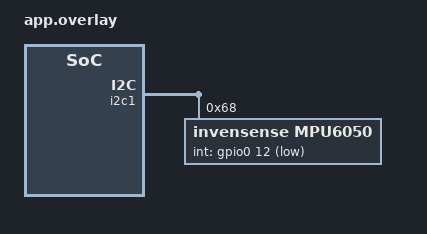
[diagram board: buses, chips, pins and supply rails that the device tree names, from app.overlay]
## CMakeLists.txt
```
#
# Copyright (c) 2018 Nordic Semiconductor
#
# SPDX-License-Identifier: LicenseRef-Nordic-5-Clause
#
cmake_minimum_required(VERSION 3.20.0)

find_package(Zephyr REQUIRED HINTS $ENV{ZEPHYR_BASE})
project(ble_custom_service)

# NORDIC SDK APP START
target_sources(app PRIVATE
  src/main.c
  src/ble.c
  src/uart.c
  src/custom_srv.c
  src/mpu6050.c
)

# Include UART ASYNC API adapter
target_sources_ifdef(CONFIG_BT_NUS_UART_ASYNC_ADAPTER app PRIVATE
  src/uart_async_adapter.c
)

# NORDIC SDK APP END

zephyr_library_include_directories(.)
```

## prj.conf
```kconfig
#
# Copyright (c) 2018 Nordic Semiconductor
#
# SPDX-License-Identifier: LicenseRef-Nordic-5-Clause
#

# Enable the UART driver
CONFIG_UART_ASYNC_API=y
CONFIG_NRFX_UARTE0=y
CONFIG_SERIAL=y

CONFIG_GPIO=y

# Make sure printk is printing to the UART console
CONFIG_CONSOLE=y
CONFIG_UART_CONSOLE=y

CONFIG_HEAP_MEM_POOL_SIZE=4096

CONFIG_BT=y
CONFIG_BT_PERIPHERAL=y
CONFIG_BT_DEVICE_NAME="Nordic_UART_Service"
CONFIG_BT_MAX_CONN=1
CONFIG_BT_MAX_PAIRED=1
CONFIG_BT_SMP=y
CONFIG_BT_GATT_CLIENT=y

#Configure your preferred connection parameters
CONFIG_BT_PERIPHERAL_PREF_MIN_INT=800
CONFIG_BT_PERIPHERAL_PREF_MAX_INT=800
CONFIG_BT_PERIPHERAL_PREF_LATENCY=0
CONFIG_BT_PERIPHERAL_PREF_TIMEOUT=400
CONFIG_BT_GAP_AUTO_UPDATE_CONN_PARAMS=y

#nable PHY updates.
CONFIG_BT_USER_PHY_UPDATE=y

#Update Data Length and MTU
CONFIG_BT_USER_DATA_LEN_UPDATE=y
CONFIG_BT_CTLR_DATA_LENGTH_MAX=251
CONFIG_BT_BUF_ACL_RX_SIZE=251
CONFIG_BT_BUF_ACL_TX_SIZE=251
CONFIG_BT_L2CAP_TX_MTU=247

# Enable the NUS service
CONFIG_BT_NUS=y

# Enable bonding
CONFIG_BT_SETTINGS=y
CONFIG_FLASH=y
CONFIG_FLASH_PAGE_LAYOUT=y
CONFIG_FLASH_MAP=y
CONFIG_NVS=y
CONFIG_SETTINGS=y

# Enable DK LED and Buttons library
CONFIG_DK_LIBRARY=y

# This example requires more stack
CONFIG_MAIN_STACK_SIZE=4096
CONFIG_SYSTEM_WORKQUEUE_STACK_SIZE=8192

# Config logger
CONFIG_LOG=y
CONFIG_USE_SEGGER_RTT=y
CONFIG_LOG_BACKEND_RTT=y
CONFIG_LOG_BACKEND_UART=n
CONFIG_LOG_PRINTK=n

CONFIG_ASSERT=y


# i2c
CONFIG_I2C=y
CONFIG_NRFX_TWI1=y
```

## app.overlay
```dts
/*
 * Copyright (c) 2022 Nordic Semiconductor ASA
 *
 * SPDX-License-Identifier: LicenseRef-Nordic-5-Clause
 */

/ {
	chosen {
		nordic,nus-uart = &uart0;
	};
};

&i2c1 {
	status = "okay";
	// clock-frequency = <400000>;
	mpu6050: mpu6050@68 {
        compatible = "invensense,mpu6050";
        reg = <0x68>; // I2C 地址
		int-gpios = <&gpio0 12 GPIO_ACTIVE_LOW>;
    };
};
 
//配置i2c1
&i2c1_default {
	group1 {
		psels = <NRF_PSEL(TWIM_SDA, 0, 31)>, <NRF_PSEL(TWIM_SCL, 0, 30)>;
	};
};
```

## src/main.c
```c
/*
 * Copyright (c) 2018 Nordic Semiconductor ASA
 *
 * SPDX-License-Identifier: LicenseRef-Nordic-5-Clause
 */

/** @file
 *  @brief Nordic UART Bridge Service (NUS) sample
 */
#include <zephyr/types.h>
#include <zephyr/kernel.h>
#include <zephyr/device.h>
#include <zephyr/devicetree.h>
#include <soc.h>

#include <dk_buttons_and_leds.h>
#include <bluetooth/services/nus.h>
#include <stdio.h>

#include <zephyr/logging/log.h>

#include "ble.h"
#include "uart.h"
#include "custom_srv.h"
#include "mpu6050.h"

LOG_MODULE_REGISTER(main);

#define RUN_STATUS_LED DK_LED1
#define RUN_LED_BLINK_INTERVAL 1000

void button_changed(uint32_t button_state, uint32_t has_changed)
{
	uint32_t buttons = button_state & has_changed;

	printk("button_changed %x\r\n", button_state);

	if (buttons & DK_BTN1_MSK) {
		printk("button1 press\r\n");
	}
	if (buttons & DK_BTN2_MSK) {
		printk("button2 press\r\n");
	}
}


static void configure_gpio(void)
{
	int err;

	// err = dk_buttons_init(button_changed);
	// if (err) {
	// 	LOG_ERR("Cannot init buttons (err: %d)", err);
	// }

	err = dk_leds_init();
	if (err) {
		LOG_ERR("Cannot init LEDs (err: %d)", err);
	}
}

int main(void)
{
	int blink_status = 0;
	int err = 0;

	configure_gpio();

	uart_init();

	ble_init();

	mpu6050_init();

	for (;;) {
		dk_set_led(RUN_STATUS_LED, (++blink_status) % 2);
		k_sleep(K_MSEC(RUN_LED_BLINK_INTERVAL));
	}
}

void ble_write_thread(void)
{
	static uint8_t tmp[5] = "1234"; 
	k_sem_take(&ble_init_ok, K_FOREVER);
	
	for (;;) {
		if(current_conn){
			// indicate_send(current_conn, tmp, 5);
			bt_custom_send(current_conn, (uint8_t*)&mpu6050_dev.sensor_data.temp, 2);
		}
		tmp[0] ++;
		k_sleep(K_MSEC(RUN_LED_BLINK_INTERVAL));
	}
}

K_THREAD_DEFINE(ble_write_thread_id, BT_THREAD_STACKSIZE, ble_write_thread, NULL, NULL,
		NULL, BT_THREAD_PRIORITY, 0, 0);
```

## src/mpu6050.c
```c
#include "mpu6050.h"
#include "ble.h"
 
LOG_MODULE_REGISTER(mpu6050);
 
/* measured in degrees/sec x10 to avoid floating point */
static const uint16_t mpu6050_gyro_sensitivity_x10[] = {
	1310, 655, 328, 164
};
 
static const uint8_t mpu6050_init_cmd[11][2] = {
    {PWR_MGMT_1, 0x80}, // PWR_MGMT_1, DEVICE_RESET  
    // need wait 
    {PWR_MGMT_1, 0x00}, // cleat SLEEP
    {GYRO_CONFIG, 0x18}, // Gyroscope Full Scale Range = ± 2000 °/s
    {ACCEL_CONFIG, 0x00}, // Accelerometer Full Scale Range = ± 2g 
    {INT_ENABLE, 0x01}, // Interrupt Enable.  DATA_RDY_EN
    {USER_CTRL, 0x00}, // User Control.auxiliary I2C are logically driven by the primary I2C bus
    {FIFO_EN, 0x00}, // FIFO Enable.disenable  
    {SMPLRT_DIV, 99}, // Sample Rate Divider.Sample Rate = 1KHz / (1 + 9)  
    {CONFIG, 0x23}, // EXT_SYNC_SET = GYRO_ZOUT_L[0]; Bandwidth = 3
    {PWR_MGMT_1, 0x01}, // Power Management 1.PLL with X axis gyroscope reference
    {PWR_MGMT_2, 0x00}  // Power Management 2
};
 
mpu6050_info_t mpu6050_dev = {
	.i2c = I2C_DT_SPEC_GET(DT_NODELABEL(mpu6050)),

#ifdef  MPU6050_INT_ENABLE  
    .int_gpio = GPIO_DT_SPEC_GET(DT_NODELABEL(mpu6050), int_gpios),
#endif
    // .data_queue = NULL,
};
 
#ifdef  MPU6050_INT_ENABLE  
// 中断处理程序
static void mpu6050_gpio_callback(const struct device *dev,
				  struct gpio_callback *cb, uint32_t pins)
{
	mpu6050_info_t *info = CONTAINER_OF(cb, mpu6050_info_t, gpio_cb);
 
	ARG_UNUSED(pins);
 
	gpio_pin_interrupt_configure_dt(&info->int_gpio, GPIO_INT_DISABLE);
 
#if defined(MPU6050_TRIGGER_OWN_THREAD)
	k_sem_give(&info->gpio_sem);
#elif defined(MPU6050_TRIGGER_GLOBAL_THREAD)
	k_work_submit(&info->work);
#endif
}
#endif
 
/*
 * @description: mpu6050读取寄存器数据 
 * @param:          reg_addr    寄存器地址  
 *                  data        数据缓存
 * @return:         无
 */
void mpu_read_reg(mpu6050_info_t *dev, uint8_t reg_addr, uint8_t *data)
{
	i2c_reg_read_byte_dt(&dev->i2c, reg_addr, data);
}
 
/*
 * @description: mpu6050写寄存器数据 
 * @param:          reg_addr    寄存器地址  
 *                  data        数据缓存
 * @return:         无
 */
void mpu_write_reg(mpu6050_info_t *dev, uint8_t reg_addr, uint8_t data)
{
    i2c_reg_write_byte_dt(&dev->i2c, reg_addr, data);
}
 
/*
 * @description: mpu6050读取寄存器数据 
 * @param:          reg_addr    寄存器地址  
 *                  data        数据缓存
 *                  len         字节数
 * @return:         无
 */
void mpu_read_n_reg(mpu6050_info_t *dev, uint8_t start_reg, uint8_t* data, uint32_t len)
{
    i2c_burst_read_dt(&dev->i2c, start_reg, data, len);
}
 
/* see "Accelerometer Measurements" section from register map description */
/*
 * @description: 转换加速度数据 
 * @param:       val               传感器值结构体指针
 *               raw_val           原始加速度值
 *               sensitivity_shift 灵敏度移位值
 * @return:      无
 */
static void mpu6050_convert_accel(struct sensor_value *val, int16_t raw_val,
				  uint16_t sensitivity_shift)
{
	int64_t conv_val;
 
	conv_val = ((int64_t)raw_val * SENSOR_G) >> sensitivity_shift;
	val->val1 = conv_val / 1000000;
	val->val2 = conv_val % 1000000;
}
 
/* see "Gyroscope Measurements" section from register map description */
/*
 * @description: 转换陀螺仪数据 
 * @param:       val                传感器值结构体指针
 *               raw_val            原始陀螺仪值
 *               sensitivity_x10    灵敏度x10
 * @return:      无
 */
static void mpu6050_convert_gyro(struct sensor_value *val, int16_t raw_val,
				 uint16_t sensitivity_x10)
{
	int64_t conv_val;
 
	conv_val = ((int64_t)raw_val * SENSOR_PI * 10) /
		   (sensitivity_x10 * 180U);
	val->val1 = conv_val / 1000000;
	val->val2 = conv_val % 1000000;
}
 
/* see "Temperature Measurement" section from register map description */
/*
 * @description: 转换温度数据 
 * @param:       val        传感器值结构体指针
 *               raw_val    原始温度值
 * @return:      无
 */
static inline void mpu6050_convert_temp(struct sensor_value *val,
					int16_t raw_val)
{
	val->val1 = raw_val / 340 + 36;
	val->val2 = ((int64_t)(raw_val % 340) * 1000000) / 340 + 530000;
 
	if (val->val2 < 0) {
		val->val1--;
		val->val2 += 1000000;
	} else if (val->val2 >= 1000000) {
		val->val1++;
		val->val2 -= 1000000;
	}
}
 
/*
 * @description: 转换MPU6050传感器通道数据 
 * @param:       info       MPU6050设备结构体指针
 *               chan       传感器通道
 *               val        传感器值结构体指针
 * @return:      0          成功
 *              -ENOTSUP    不支持的通道
 */
int mpu6050_channel_get(mpu6050_info_t *info,
			       enum sensor_channel chan,
			       struct sensor_value *val)
{
	mpu6050_data_t *drv_data = &info->sensor_data;
 
	switch (chan) {
	case SENSOR_CHAN_ACCEL_XYZ:
		mpu6050_convert_accel(val, drv_data->accel_x,
				      drv_data->accel_sensitivity_shift);
		mpu6050_convert_accel(val + 1, drv_data->accel_y,
				      drv_data->accel_sensitivity_shift);
		mpu6050_convert_accel(val + 2, drv_data->accel_z,
				      drv_data->accel_sensitivity_shift);
		break;
	case SENSOR_CHAN_ACCEL_X:
		mpu6050_convert_accel(val, drv_data->accel_x,
				      drv_data->accel_sensitivity_shift);
		break;
	case SENSOR_CHAN_ACCEL_Y:
		mpu6050_convert_accel(val, drv_data->accel_y,
				      drv_data->accel_sensitivity_shift);
		break;
	case SENSOR_CHAN_ACCEL_Z:
		mpu6050_convert_accel(val, drv_data->accel_z,
				      drv_data->accel_sensitivity_shift);
		break;
	case SENSOR_CHAN_GYRO_XYZ:
		mpu6050_convert_gyro(val, drv_data->gyro_x,
				     drv_data->gyro_sensitivity_x10);
		mpu6050_convert_gyro(val + 1, drv_data->gyro_y,
				     drv_data->gyro_sensitivity_x10);
		mpu6050_convert_gyro(val + 2, drv_data->gyro_z,
				     drv_data->gyro_sensitivity_x10);
		break;
	case SENSOR_CHAN_GYRO_X:
		mpu6050_convert_gyro(val, drv_data->gyro_x,
				     drv_data->gyro_sensitivity_x10);
		break;
	case SENSOR_CHAN_GYRO_Y:
		mpu6050_convert_gyro(val, drv_data->gyro_y,
				     drv_data->gyro_sensitivity_x10);
		break;
	case SENSOR_CHAN_GYRO_Z:
		mpu6050_convert_gyro(val, drv_data->gyro_z,
				     drv_data->gyro_sensitivity_x10);
		break;
	case SENSOR_CHAN_DIE_TEMP:
		mpu6050_convert_temp(val, drv_data->temp);
		break;
	default:
		return -ENOTSUP;
	}
 
	return 0;
}
 
/*
 * @description: struct sensor_value 数据打印
 * @param:          value  struct sensor_value 数据
 * @return:         无
 */
void print_sensor_value(struct sensor_value *value) {
    // Check if the fractional part is negative
    if (value->val2 < 0) {
        // Print negative fractional part correctly
        printk("%d.%06d\n", value->val1, -value->val2);
    } else {
        // Print normally
        printk("%d.%06d\n", value->val1, value->val2);
    }
}
 
#ifdef MPU6050_TRIGGER_OWN_THREAD
/*
 * @description: mpu6050中断读取数据线程 
 * @param:          无  
 * @return:         无
 */
static void mpu6050_thread(void *p1, void *p2, void *p3)
{
	ARG_UNUSED(p2);
	ARG_UNUSED(p3);
 
    uint16_t tmp[7];
	mpu6050_info_t *info = p1;
    // struct sensor_value val[7];
 
	while (1) {
        //等待接收
		k_sem_take(&info->gpio_sem, K_FOREVER);
 
        //读取数据
        mpu_read_n_reg(info, ACCEL_XOUT_H, (uint8_t*)tmp, 14);
		
        //开中断
        gpio_pin_interrupt_configure_dt(&info->int_gpio, 
            GPIO_INT_EDGE_FALLING);
 
        info->sensor_data.accel_x = sys_be16_to_cpu(tmp[0]);
        info->sensor_data.accel_y = sys_be16_to_cpu(tmp[1]);
        info->sensor_data.accel_z = sys_be16_to_cpu(tmp[2]);
        info->sensor_data.temp = sys_be16_to_cpu(tmp[3]);
        info->sensor_data.gyro_x = sys_be16_to_cpu(tmp[4]);
        info->sensor_data.gyro_y = sys_be16_to_cpu(tmp[5]);
        info->sensor_data.gyro_z = sys_be16_to_cpu(tmp[6]);
 
		//for(int i=0; i<7; i++) printk("%x ", tmp[i]);	
		//printk("\r\n");
		k_sleep(K_MSEC(100));
	}
}
#endif
 
/*
 * @description: mpu6050中断初始化 
 * @param:          无  
 * @return:         0		成功
 * 					ELSE	失败
 */
int mpu6050_init_interrupt(mpu6050_info_t *info)
{
	if (!gpio_is_ready_dt(&info->int_gpio)) {
		LOG_ERR("GPIO device not ready");
		return -ENODEV;
	}
 
	gpio_pin_configure_dt(&info->int_gpio, GPIO_INPUT);
 
	gpio_init_callback(&info->gpio_cb,
			   mpu6050_gpio_callback,
			   BIT(info->int_gpio.pin));
 
	if (gpio_add_callback(info->int_gpio.port, &info->gpio_cb) < 0) {
		LOG_ERR("Failed to set gpio callback");
		return -EIO;
	}
 
#if defined(MPU6050_TRIGGER_OWN_THREAD)
	k_sem_init(&info->gpio_sem, 0, K_SEM_MAX_LIMIT);
 
	k_thread_create(&info->thread, info->thread_stack,
			MPU6050_THREAD_STACK_SIZE,
			mpu6050_thread, &mpu6050_dev,
			NULL, NULL, K_PRIO_COOP(MPU6050_THREAD_PRIORITY),
			0, K_NO_WAIT);
#elif defined(MPU6050_TRIGGER_GLOBAL_THREAD)
	info->work.handler = mpu6050_work_cb;
#endif
 
	gpio_pin_interrupt_configure_dt(&info->int_gpio,
					GPIO_INT_EDGE_FALLING);
 
	return 0;
}
 
 
/*
 * @description: mpu6050初始化 
 * @param:          无  
 * @return:         无
 */
int mpu6050_init(void)
{
    //寄存器初始化
    int ret;
	int i=0;
	uint8_t tmp, id;
 
    mpu6050_dev.sensor_data.accel_sensitivity_shift = 14;   // 14 - bit(4,3)
    mpu6050_dev.sensor_data.gyro_sensitivity_x10 = mpu6050_gyro_sensitivity_x10[3];
    
    if (!device_is_ready(mpu6050_dev.i2c.bus)) {
		LOG_ERR("Bus device is not ready");
		return -ENODEV;
	}
    
    /* check chip ID */
    if (i2c_reg_read_byte_dt(&mpu6050_dev.i2c, MPU6050_REG_CHIP_ID, &id) < 0) {
		LOG_ERR("Failed to read chip ID.");
		return -EIO;
	}

	if ((id != MPU6050_CHIP_ID) && (id != MPU9250_CHIP_ID) && (id != MPU6880_CHIP_ID)) {
		LOG_ERR("Invalid chip ID.");
		return -EINVAL;
	}


#ifdef  MPU6050_INT_ENABLE
    //中断配置
    ret = mpu6050_init_interrupt(&mpu6050_dev);
	if(ret) LOG_ERR("mpu6050_init_interrupt ERROR %X", ret);
#endif
 
	for (i=0; i < 11; i++){
        mpu_write_reg(&mpu6050_dev, mpu6050_init_cmd[i][0], mpu6050_init_cmd[i][1]);
        if (i == 0)
            k_sleep(K_MSEC(500));
    }
	
    for(i=0; i<11; i++){
        mpu_read_reg(&mpu6050_dev, mpu6050_init_cmd[i][0], &tmp);
        printk("tmp %02X\n\r", tmp);
    }

    return 0;
}
 
 
 
 
```

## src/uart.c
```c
#include "uart.h"

LOG_MODULE_REGISTER(custom_uart);

const struct device *uart = DEVICE_DT_GET(DT_CHOSEN(nordic_nus_uart));
static struct k_work_delayable uart_work;

K_FIFO_DEFINE(fifo_uart_tx_data);
K_FIFO_DEFINE(fifo_uart_rx_data);

#if CONFIG_BT_NUS_UART_ASYNC_ADAPTER
UART_ASYNC_ADAPTER_INST_DEFINE(async_adapter);
#else
static const struct device *const async_adapter;
#endif

static void uart_cb(const struct device *dev, struct uart_event *evt, void *user_data)
{
	ARG_UNUSED(dev);

	static size_t aborted_len;
	struct uart_data_t *buf;
	static uint8_t *aborted_buf;
	static bool disable_req;

	switch (evt->type) {
	case UART_TX_DONE:
		LOG_DBG("UART_TX_DONE");
		if ((evt->data.tx.len == 0) ||
		    (!evt->data.tx.buf)) {
			return;
		}

		if (aborted_buf) {
			buf = CONTAINER_OF(aborted_buf, struct uart_data_t,
					   data[0]);
			aborted_buf = NULL;
			aborted_len = 0;
		} else {
			buf = CONTAINER_OF(evt->data.tx.buf, struct uart_data_t,
					   data[0]);
		}

		k_free(buf);

		buf = k_fifo_get(&fifo_uart_tx_data, K_NO_WAIT);
		if (!buf) {
			return;
		}

		if (uart_tx(uart, buf->data, buf->len, SYS_FOREVER_MS)) {
			LOG_WRN("Failed to send data over UART");
		}

		break;

	case UART_RX_RDY:
		LOG_DBG("UART_RX_RDY");
		buf = CONTAINER_OF(evt->data.rx.buf, struct uart_data_t, data[0]);
		buf->len += evt->data.rx.len;

		if (disable_req) {
			return;
		}

		if ((evt->data.rx.buf[buf->len - 1] == '\n') ||
		    (evt->data.rx.buf[buf->len - 1] == '\r')) {
			disable_req = true;
			uart_rx_disable(uart);
		}

		break;

	case UART_RX_DISABLED:
		LOG_DBG("UART_RX_DISABLED");
		disable_req = false;

		buf = k_malloc(sizeof(*buf));
		if (buf) {
			buf->len = 0;
		} else {
			LOG_WRN("Not able to allocate UART receive buffer");
			k_work_reschedule(&uart_work, UART_WAIT_FOR_BUF_DELAY);
			return;
		}

		uart_rx_enable(uart, buf->data, sizeof(buf->data),
			       UART_WAIT_FOR_RX);

		break;

	case UART_RX_BUF_REQUEST:
		LOG_DBG("UART_RX_BUF_REQUEST");
		buf = k_malloc(sizeof(*buf));
		if (buf) {
			buf->len = 0;
			uart_rx_buf_rsp(uart, buf->data, sizeof(buf->data));
		} else {
			LOG_WRN("Not able to allocate UART receive buffer");
		}

		break;

	case UART_RX_BUF_RELEASED:
		LOG_DBG("UART_RX_BUF_RELEASED");
		buf = CONTAINER_OF(evt->data.rx_buf.buf, struct uart_data_t,
				   data[0]);

		if (buf->len > 0) {
			k_fifo_put(&fifo_uart_rx_data, buf);
		} else {
			k_free(buf);
		}

		break;

	case UART_TX_ABORTED:
		LOG_DBG("UART_TX_ABORTED");
		if (!aborted_buf) {
			aborted_buf = (uint8_t *)evt->data.tx.buf;
		}

		aborted_len += evt->data.tx.len;
		buf = CONTAINER_OF((void *)aborted_buf, struct uart_data_t,
				   data);

		uart_tx(uart, &buf->data[aborted_len],
			buf->len - aborted_len, SYS_FOREVER_MS);

		break;

	default:
		break;
	}
}

static void uart_work_handler(struct k_work *item)
{
	struct uart_data_t *buf;

	buf = k_malloc(sizeof(*buf));
	if (buf) {
		buf->len = 0;
	} else {
		LOG_WRN("Not able to allocate UART receive buffer");
		k_work_reschedule(&uart_work, UART_WAIT_FOR_BUF_DELAY);
		return;
	}

	uart_rx_enable(uart, buf->data, sizeof(buf->data), UART_WAIT_FOR_RX);
}

static bool uart_test_async_api(const struct device *dev)
{
	const struct uart_driver_api *api =
			(const struct uart_driver_api *)dev->api;

	return (api->callback_set != NULL);
}


int uart_tx_by_fifo(const struct device *uart, const uint8_t *const data, uint16_t len)
{
    int err = 0;
    for (uint16_t pos = 0; pos != len;) {
		struct uart_data_t *tx = k_malloc(sizeof(*tx));

		if (!tx) {
			LOG_WRN("Not able to allocate UART send data buffer");
			return -ENOMEM;
		}

		/* Keep the last byte of TX buffer for potential LF char. */
		size_t tx_data_size = sizeof(tx->data) - 1;

		if ((len - pos) > tx_data_size) {
			tx->len = tx_data_size;
		} else {
			tx->len = (len - pos);
		}

		memcpy(tx->data, &data[pos], tx->len);

		pos += tx->len;

		/* Append the LF character when the CR character triggered
		 * transmission from the peer.
		 */
		if ((pos == len) && (data[len - 1] == '\r')) {
			tx->data[tx->len] = '\n';
			tx->len++;
		}

		err = uart_tx(uart, tx->data, tx->len, SYS_FOREVER_MS);
		if (err) {
			k_fifo_put(&fifo_uart_tx_data, tx);
		}
	}
    return err;
}
int uart_init(void)
{
	int err;
	int pos;
	struct uart_data_t *rx;
	struct uart_data_t *tx;

	if (!device_is_ready(uart)) {
		return -ENODEV;
	}

	if (IS_ENABLED(CONFIG_USB_DEVICE_STACK)) {
		err = usb_enable(NULL);
		if (err && (err != -EALREADY)) {
			LOG_ERR("Failed to enable USB");
			return err;
		}
	}

	rx = k_malloc(sizeof(*rx));
	if (rx) {
		rx->len = 0;
	} else {
		return -ENOMEM;
	}

	k_work_init_delayable(&uart_work, uart_work_handler);


	if (IS_ENABLED(CONFIG_BT_NUS_UART_ASYNC_ADAPTER) && !uart_test_async_api(uart)) {
		/* Implement API adapter */
		uart_async_adapter_init(async_adapter, uart);
		uart = async_adapter;
	}

	err = uart_callback_set(uart, uart_cb, NULL);
	if (err) {
		k_free(rx);
		LOG_ERR("Cannot initialize UART callback");
		return err;
	}

	if (IS_ENABLED(CONFIG_UART_LINE_CTRL)) {
		LOG_INF("Wait for DTR");
		while (true) {
			uint32_t dtr = 0;

			uart_line_ctrl_get(uart, UART_LINE_CTRL_DTR, &dtr);
			if (dtr) {
				break;
			}
			/* Give CPU resources to low priority threads. */
			k_sleep(K_MSEC(100));
		}
		LOG_INF("DTR set");
		err = uart_line_ctrl_set(uart, UART_LINE_CTRL_DCD, 1);
		if (err) {
			LOG_WRN("Failed to set DCD, ret code %d", err);
		}
		err = uart_line_ctrl_set(uart, UART_LINE_CTRL_DSR, 1);
		if (err) {
			LOG_WRN("Failed to set DSR, ret code %d", err);
		}
	}

	tx = k_malloc(sizeof(*tx));

	if (tx) {
		pos = snprintf(tx->data, sizeof(tx->data),
			       "Starting Nordic UART service example\r\n");

		if ((pos < 0) || (pos >= sizeof(tx->data))) {
			k_free(rx);
			k_free(tx);
			LOG_ERR("snprintf returned %d", pos);
			return -ENOMEM;
		}

		tx->len = pos;
	} else {
		k_free(rx);
		return -ENOMEM;
	}

	err = uart_tx(uart, tx->data, tx->len, SYS_FOREVER_MS);
	if (err) {
		k_free(rx);
		k_free(tx);
		LOG_ERR("Cannot display welcome message (err: %d)", err);
		return err;
	}

	err = uart_rx_enable(uart, rx->data, sizeof(rx->data), UART_WAIT_FOR_RX);
	if (err) {
		LOG_ERR("Cannot enable uart reception (err: %d)", err);
		/* Free the rx buffer only because the tx buffer will be handled in the callback */
		k_free(rx);
	}

	return err;
}
```
